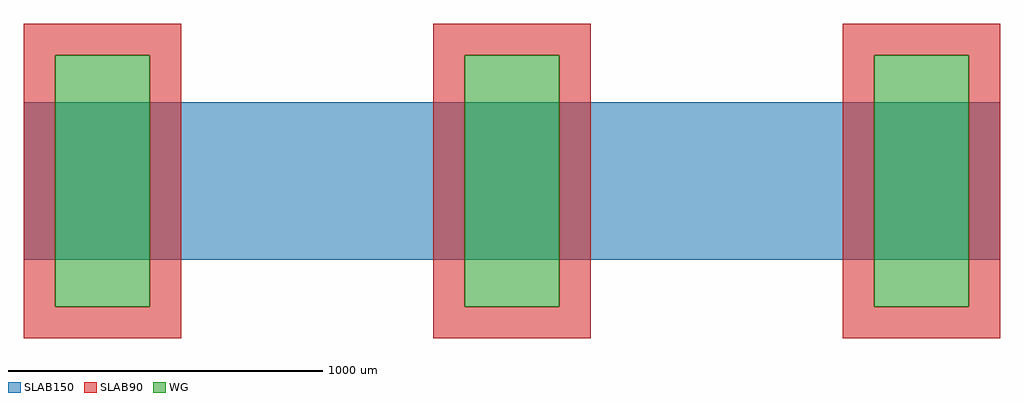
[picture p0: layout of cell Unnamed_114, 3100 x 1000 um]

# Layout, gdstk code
import gdstk
lib = gdstk.Library(unit=1e-6, precision=1e-09)
def R(c, l, rs):  # rectangles x0, y0, x1, y1
    for r in rs: c.add(gdstk.rectangle(r[:2], r[2:], *l))
def P(c, l, *ps):  # polygons
    for p in ps: c.add(gdstk.Polygon(p, *l))
WG = (1, 0)
SLAB150 = (2, 0)
SLAB90 = (3, 0)

rectangle_gdsfactorypco_ = lib.new_cell('rectangle_gdsfactorypco_d7a62ac7')
R(rectangle_gdsfactorypco_, SLAB150, [(0,0,3100,500)])

c_rectangle_gdsfactorypco_ = lib.new_cell('rectangle_gdsfactorypco_f723c1cb')
R(c_rectangle_gdsfactorypco_, WG, [(0,0,300,800)])

unnamed_114 = lib.new_cell('Unnamed_114')
P(unnamed_114, SLAB90, [(-100,-100),(-100,800),(0,800),(0,0),(300,0),(300,800),(-100,800),(-100,900),(400,900),(400,-100)],
  [(1200,-100),(1200,800),(1300,800),(1300,0),(1600,0),(1600,800),(1200,800),(1200,900),(1700,900),(1700,-100)],
  [(2500,-100),(2500,800),(2600,800),(2600,0),(2900,0),(2900,800),(2500,800),(2500,900),(3000,900),(3000,-100)])
unnamed_114.add(gdstk.Reference(rectangle_gdsfactorypco_, (-100,150)))
unnamed_114.add(gdstk.Reference(c_rectangle_gdsfactorypco_, (0,0)))
unnamed_114.add(gdstk.Reference(c_rectangle_gdsfactorypco_, (1300,0)))
unnamed_114.add(gdstk.Reference(c_rectangle_gdsfactorypco_, (2600,0)))

lib.write_gds('Unnamed_114.gds')
